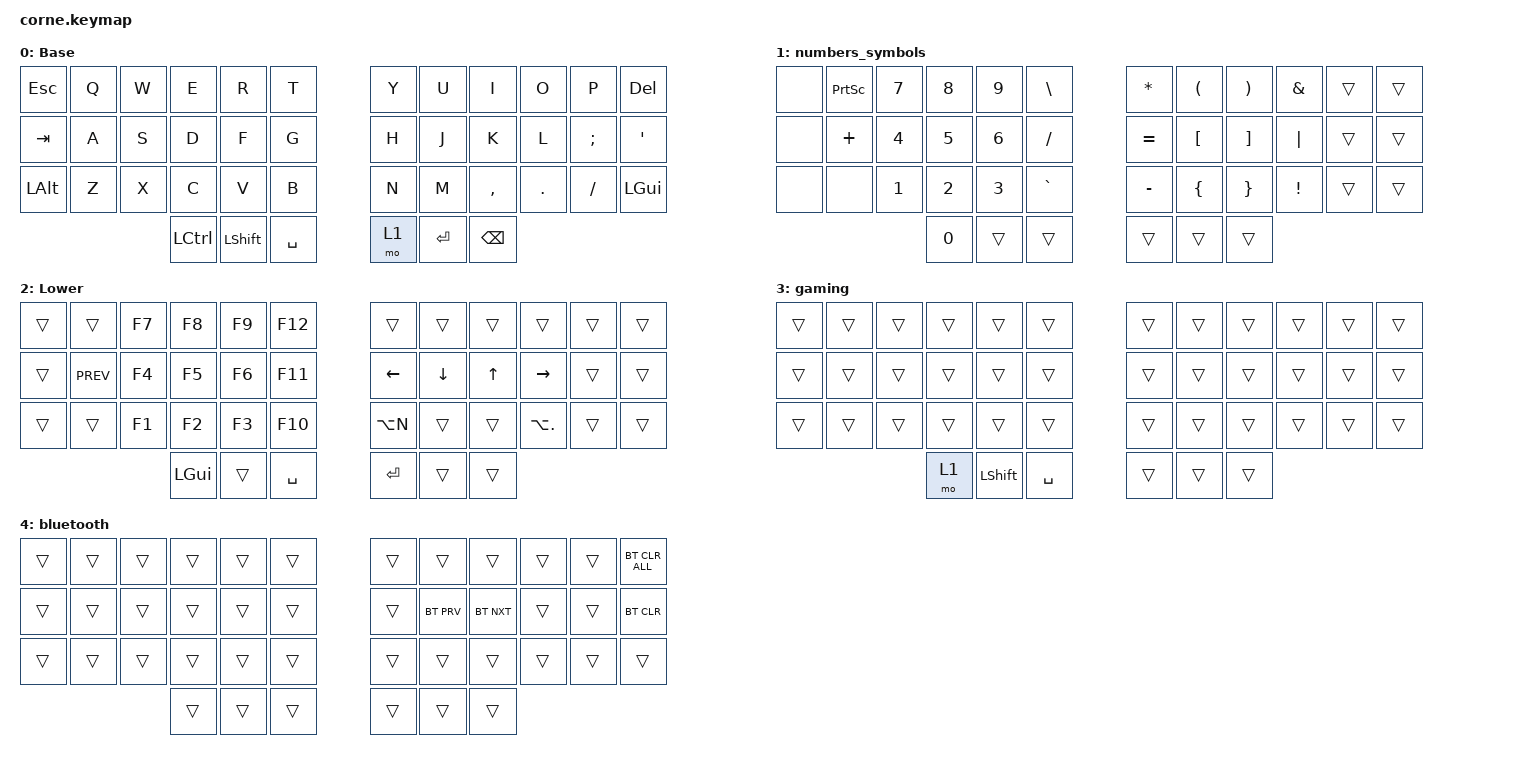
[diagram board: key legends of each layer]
/*
 * Copyright (c) 2020 The ZMK Contributors
 *
 * SPDX-License-Identifier: MIT
 */

#include <behaviors.dtsi>
#include <dt-bindings/zmk/bt.h>
#include <dt-bindings/zmk/keys.h>

/ {
    combos {
        compatible = "zmk,combos";

        gaming_time {
            bindings = <&tog 3>;
            key-positions = <39 40 41>;
        };

        arrows {
            bindings = <&mo 2>;
            key-positions = <41 36>;
        };

        bt {
            bindings = <&mo 4>;
            key-positions = <38 37 39>;
        };

        bt-clr {
            bindings = <&bt BT_PRV>;
            key-positions = <0 12 24>;
        };

        next {
            bindings = <&bt BT_NXT>;
            key-positions = <11 23 35>;
        };
    };

    keymap {
        compatible = "zmk,keymap";

        default_layer {
            // -----------------------------------------------------------------------------------------
            // |  TAB |  Q  |  W  |  E  |  R  |  T  |   |  Y  |  U   |  I  |  O  |  P  | BKSP |
            // | CTRL |  A  |  S  |  D  |  F  |  G  |   |  H  |  J   |  K  |  L  |  ;  |  '   |
            // | SHFT |  Z  |  X  |  C  |  V  |  B  |   |  N  |  M   |  ,  |  .  |  /  | ESC  |
            //                    | GUI | LWR | SPC |   | ENT | RSE  | ALT |

            display-name = "Base";
            bindings = <
&kp ESC   &kp Q  &kp W  &kp E      &kp R           &kp T        &kp Y  &kp U      &kp I          &kp O    &kp P     &kp DEL
&kp TAB   &kp A  &kp S  &kp D      &kp F           &kp G        &kp H  &kp J      &kp K          &kp L    &kp SEMI  &kp SQT
&kp LALT  &kp Z  &kp X  &kp C      &kp V           &kp B        &kp N  &kp M      &kp COMMA      &kp DOT  &kp FSLH  &kp LGUI
                        &kp LCTRL  &kp LEFT_SHIFT  &kp SPACE    &mo 1  &kp ENTER  &kp BACKSPACE
            >;
        };

        numbers_symbols {
            bindings = <
&none  &kp PRINTSCREEN  &kp NUMBER_7  &kp N8        &kp N9        &kp BACKSLASH    &kp ASTERISK  &kp LEFT_PARENTHESIS  &kp RIGHT_PARENTHESIS  &kp AMPERSAND    &trans  &trans
&none  &kp PLUS         &kp NUMBER_4  &kp N5        &kp NUMBER_6  &kp SLASH        &kp EQUAL     &kp LEFT_BRACKET      &kp RIGHT_BRACKET      &kp PIPE         &trans  &trans
&none  &none            &kp NUMBER_1  &kp NUMBER_2  &kp NUMBER_3  &kp GRAVE        &kp MINUS     &kp LEFT_BRACE        &kp RIGHT_BRACE        &kp EXCLAMATION  &trans  &trans
                                      &kp N0        &trans        &trans           &trans        &trans                &trans
            >;
        };

        arrows_functions {
            // -----------------------------------------------------------------------------------------
            // |  TAB |  1  |  2  |  3  |  4  |  5  |   |  6  |  7  |  8  |  9  |  0  | BKSP |
            // | BTCLR| BT1 | BT2 | BT3 | BT4 | BT5 |   | LFT | DWN |  UP | RGT |     |      |
            // | SHFT |     |     |     |     |     |   |     |     |     |     |     |      |
            //                    | GUI |     | SPC |   | ENT |     | ALT |

            display-name = "Lower";
            bindings = <
&trans  &trans      &kp F7  &kp F8    &kp F9  &kp F12      &trans          &trans          &trans        &trans          &trans  &trans
&trans  &kp K_PREV  &kp F4  &kp F5    &kp F6  &kp F11      &kp LEFT_ARROW  &kp DOWN_ARROW  &kp UP_ARROW  &kp RIGHT       &trans  &trans
&trans  &trans      &kp F1  &kp F2    &kp F3  &kp F10      &kp LA(N)       &trans          &trans        &kp LA(PERIOD)  &trans  &trans
                            &kp LGUI  &trans  &kp SPACE    &kp RET         &trans          &trans
            >;
        };

        gaming {
            bindings = <
&trans  &trans  &trans  &trans  &trans          &trans       &trans  &trans  &trans  &trans  &trans  &trans
&trans  &trans  &trans  &trans  &trans          &trans       &trans  &trans  &trans  &trans  &trans  &trans
&trans  &trans  &trans  &trans  &trans          &trans       &trans  &trans  &trans  &trans  &trans  &trans
                        &mo 1   &kp LEFT_SHIFT  &kp SPACE    &trans  &trans  &trans
            >;
        };

        bluetooth {
            bindings = <
&trans  &trans  &trans  &trans  &trans  &trans    &trans  &trans      &trans      &trans  &trans  &bt BT_CLR_ALL
&trans  &trans  &trans  &trans  &trans  &trans    &trans  &bt BT_PRV  &bt BT_NXT  &trans  &trans  &bt BT_CLR
&trans  &trans  &trans  &trans  &trans  &trans    &trans  &trans      &trans      &trans  &trans  &trans
                        &trans  &trans  &trans    &trans  &trans      &trans
            >;
        };
    };
};
